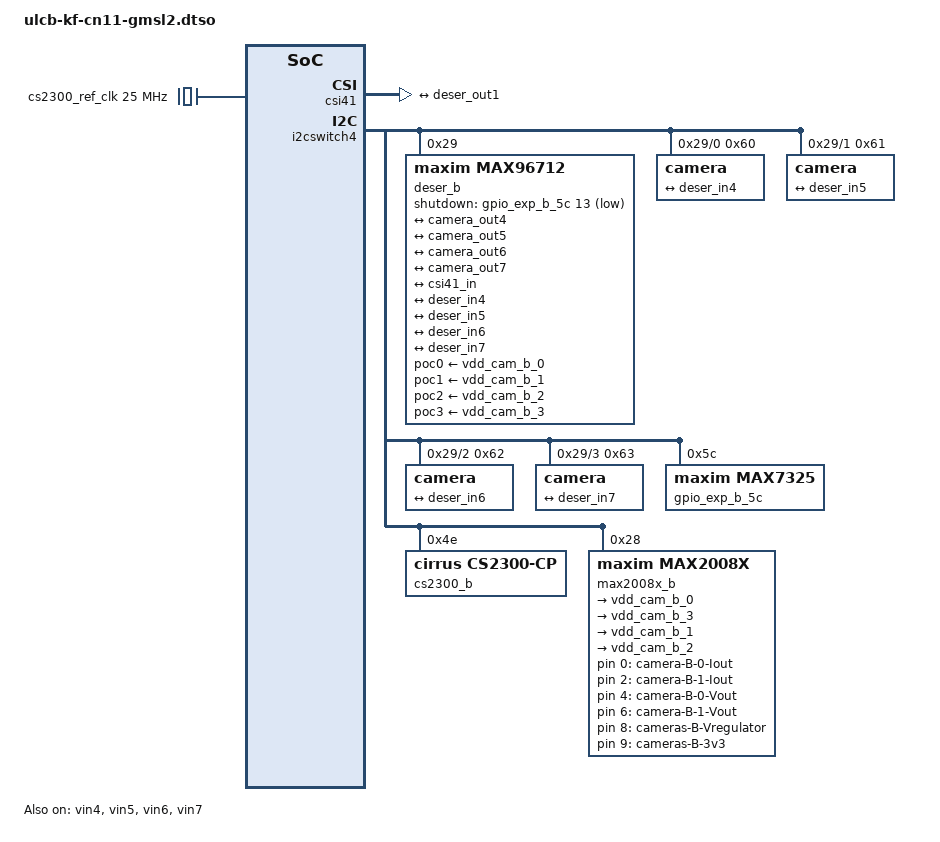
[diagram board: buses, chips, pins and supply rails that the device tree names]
// SPDX-License-Identifier: GPL-2.0
/*
 * Device Tree Overlay for the H3ULCB Kingfisher board:
 *  use CN11 instead default CN29/CN48
 *  use GMSL2 card on CN11
 *
 * Copyright (C) 2017-2020 Renesas Electronics Corp.
 * Copyright (C) 2017-2020 Cogent Embedded, Inc.
 */

/dts-v1/;
/plugin/;

#include <dt-bindings/gpio/gpio.h>
#include "camera.dtsi"

/ {
	fragment@101 {
		target-path = "/";

		__overlay__ {

			cs2300_ref_clk: cs2300_ref_clk {
				compatible = "fixed-clock";
				#clock-cells = <0>;
				clock-frequency = <25000000>;
			};

			iio_hwmon_b: hwmon_b@0 {
				compatible = "iio-hwmon";
				io-channels = <&max2008x_b 0>, <&max2008x_b 2>, /* current */
					      <&max2008x_b 4>, <&max2008x_b 6>, /* voltage */
					      <&max2008x_b 8>, <&max2008x_b 9>; /* misc voltages */
				io-channel-names = "camera-B-0-Iout", "camera-B-1-Iout",
						   "camera-B-0-Vout", "camera-B-1-Vout",
						   "cameras-B-Vregulator", "cameras-B-3v3";
			};
		};
	};
};

&csi41 {
	status = "okay";

	ports {
		#address-cells = <1>;
		#size-cells = <0>;

		port@0 {
			reg = <0>;

			csi41_in: endpoint {
				clock-lanes = <0>;
				data-lanes = <1 2 3 4>;
				remote-endpoint = <&deser_out1>;
			};
		};
	};
};

&i2cswitch4 {
	#address-cells = <1>;
	#size-cells = <0>;

	/* Slot B (CN11) */
	i2c@2 {
		#address-cells = <1>;
		#size-cells = <0>;
		reg = <2>;

		deser_b@29 {
			compatible = "maxim,max96712", "maxim,max9296";
			#address-cells = <1>;
			#size-cells = <0>;
			reg = <0x29 0x48>;
			reg-names = "max96712", "max9296";
			regs = <0x0c 0x0d 0x0e 0x0f>;
			clocks = <&cs2300_b>;
			clock-names = "ref_clk";
			shutdown-gpios = <&gpio_exp_b_5c 13 GPIO_ACTIVE_LOW>;

			poc0-supply = <&vdd_cam_b_0>;
			poc1-supply = <&vdd_cam_b_1>;
			poc2-supply = <&vdd_cam_b_2>;
			poc3-supply = <&vdd_cam_b_3>;

			ports {
				#address-cells = <1>;
				#size-cells = <0>;

				port@0 {
					reg = <0>;
					deser_in4: endpoint {
						remote-endpoint = <&camera_out4>;
					};
				};

				port@1 {
					reg = <1>;
					deser_in5: endpoint {
						remote-endpoint = <&camera_out5>;
					};
				};

				port@2 {
					reg = <2>;
					deser_in6: endpoint {
						remote-endpoint = <&camera_out6>;
					};
				};

				port@3 {
					reg = <3>;
					deser_in7: endpoint {
						remote-endpoint = <&camera_out7>;
					};
				};

				port@4 {
					reg = <4>;
					deser_out1: endpoint {
						clock-lanes = <0>;
						data-lanes = <1 2 3 4>;
						remote-endpoint = <&csi41_in>;
					};
				};
			};

			i2c@0 {
				#address-cells = <1>;
				#size-cells = <0>;
				reg = <0>;

				camera@60 {
					compatible = LVDS_CAMERA;
					reg = <0x60 0x0c>;

					port {
						camera_out4: endpoint {
							remote-endpoint = <&deser_in4>;
						};
					};
				};
			};

			i2c@1 {
				#address-cells = <1>;
				#size-cells = <0>;
				reg = <1>;

				camera@61 {
					compatible = LVDS_CAMERA;
					reg = <0x61 0x0d>;

					port {
						camera_out5: endpoint {
							remote-endpoint = <&deser_in5>;
						};
					};
				};
			};

			i2c@2 {
				#address-cells = <1>;
				#size-cells = <0>;
				reg = <2>;

				camera@62 {
					compatible = LVDS_CAMERA;
					reg = <0x62 0x0e>;

					port {
						camera_out6: endpoint {
							remote-endpoint = <&deser_in6>;
						};
					};
				};
			};

			i2c@3 {
				#address-cells = <1>;
				#size-cells = <0>;
				reg = <3>;

				camera@63 {
					compatible = LVDS_CAMERA;
					reg = <0x63 0x0f>;

					port {
						camera_out7: endpoint {
							remote-endpoint = <&deser_in7>;
						};
					};
				};
			};
		};
	};

	i2cswitch4_i2c6: i2c@6 {
		#address-cells = <1>;
		#size-cells = <0>;
		reg = <6>;
		/* Slot B (CN11) */

		gpio_exp_b_5c: gpio@5c {
			compatible = "maxim,max7325";
			reg = <0x5c>;
			gpio-controller;
			#gpio-cells = <2>;

			video_b_des_cfg2 {
				gpio-hog;
				gpios = <4 GPIO_ACTIVE_HIGH>;
				input;
				line-name = "Video-B cfg2";
			};
			video_b_des_cfg1 {
				gpio-hog;
				gpios = <6 GPIO_ACTIVE_HIGH>;
				input;
				line-name = "Video-B cfg1";
			};
			video_b_des_cfg0 {
				gpio-hog;
				gpios = <7 GPIO_ACTIVE_HIGH>;
				input;
				line-name = "Video-B cfg0";
			};
			video_b_pwr_shdn {
				gpio-hog;
				gpios = <14 GPIO_ACTIVE_HIGH>;
				output-high;
				line-name = "Video-B PWR_SHDN";
			};
			video_b_led {
				gpio-hog;
				gpios = <12 GPIO_ACTIVE_HIGH>;
				output-low;
				line-name = "Video-B LED";
			};
		};

		cs2300_b: clk_multiplier_b@4e {
			#clock-cells = <0>;
			compatible = "cirrus,cs2300-cp";
			reg = <0x4e>;
			clocks = <&cs2300_ref_clk>;
			clock-names = "clk_in";
			assigned-clocks = <&cs2300_b>;
			assigned-clock-rates = <25000000>;
		};

		max2008x_b: vcam_switch_b@28 {
			compatible = "maxim,max2008x";
			reg = <0x28>;
			#io-channel-cells = <1>;

			regulators {
				#address-cells = <1>;
				#size-cells = <0>;

				vdd_cam_b_0: SW0 {
					reg = <0>;
					regulator-name = "Camera-B-0";
				};
				vdd_cam_b_3: SW1 {
					reg = <1>;
					regulator-name = "Camera-B-3";
				};
				vdd_cam_b_1: SW2 {
					reg = <2>;
					regulator-name = "Camera-B-1";
				};
				vdd_cam_b_2: SW3 {
					reg = <3>;
					regulator-name = "Camera-B-2";
				};
			};
		};
	};
};

&vin4 {
	status = "okay";
};

&vin5 {
	status = "okay";
};

&vin6 {
	status = "okay";
};

&vin7 {
	status = "okay";
};
